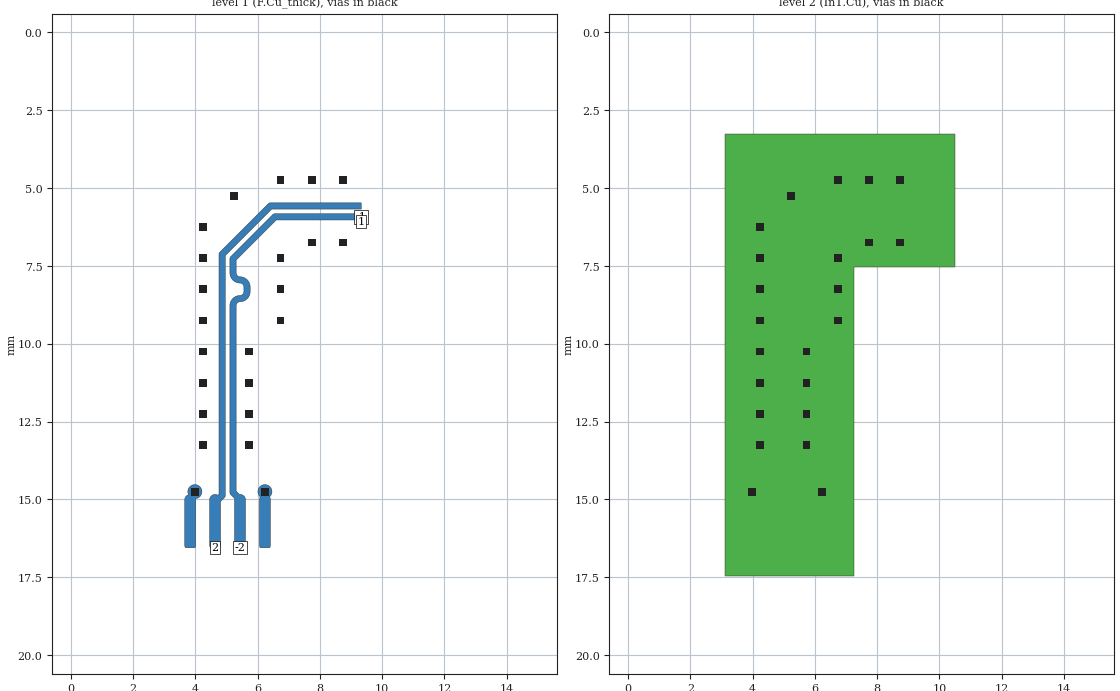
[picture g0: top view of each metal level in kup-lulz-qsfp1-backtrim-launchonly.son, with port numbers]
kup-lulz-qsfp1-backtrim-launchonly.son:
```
FTYP SONPROJ 19 ! Sonnet Project File
VER 18.56
HEADER
LIC antikernel2.1.61468
DAT 03/15/2024 08:04:39
BUILT_BY_CREATED dxf 18.56 03/15/2024 05:41:27
BUILT_BY_SAVED sonnet 18.56
MDATE 03/15/2024 06:28:55
HDATE 03/15/2024 06:28:55
ANN Created by dxfgeo, Sonnet Software Inc.
END HEADER
DIM
ANG DEG
CAP PF
CON /OH
FREQ GHZ
IND NH
LNG MM
RES OH
END DIM
CONTROL
VARSWP
OPTIONS  -dj
SPEED 1
CACHE_ABS 2
Q_ACC N
END CONTROL
GEO
TMET "Lossless" 0 SUP 0 0 0 0
BMET "Lossless" 0 SUP 0 0 0 0
MET "Copper_1oz+plated_thick_up" 1 TMM 58000000 0.5 0.0432 2
MET "Copper_1oz+plated_thin" 4 NOR 58000000 0.5 0.0432 
MET "Copper_0.5oz_thin" 2 NOR 58000000 0.5 0.0175 
MET "Copper_1oz+plated_thick_down" 3 TMM 58000000 0.5 0.0432 2 CDVY TDWN
BOX 6 15 20 1200 1600 20 0
      10 1 1 0 0 0 0 "Air"
      0.05 3.5 1 0.02 0 0 0 "Soldermask"
      0.2021 3.61 1 0.0092 0 0 0 "Isola_FR408HR"
      1.1938 3.61 1 0.0092 0 0 0 "Isola_FR408HR"
      0.2021 3.61 1 0.0092 0 0 0 "Isola_FR408HR"
      0.05 3.5 1 0.02 0 0 0 "Soldermask"
      10 1 1 0 0 0 0 "Air"
TECHLAY METAL F.Cu_thick L1D0 -1 -65534 CAD F.Cu drawing 
1 0 0 N 2224 1 1 100 100 0 0 0 Y
END
END
TECHLAY VIA Via1 L5D0 -7 -65534 CAD Via1 drawing 
VIA POLYGON
1 0 -1 N 2321 1 1 100 100 0 0 0 Y
TOLEVEL 4 RING NOCOVERS
END
END
TECHLAY METAL F.Cu_thin <UNSPECIFIED> -2 -65534 CAD F.Cu_thin drawing 
1 0 1 N 2236 1 1 100 100 0 0 0 Y
END
END
TECHLAY METAL In1.Cu L2D0 -3 -65534 CAD In1.Cu drawing 
2 0 2 N 2239 1 1 100 100 0 0 0 Y
END
END
TECHLAY METAL In2.Cu L3D0 -4 -65534 CAD In2.Cu drawing 
3 0 2 N 2242 1 1 100 100 0 0 0 Y
END
END
TECHLAY METAL B.Cu_thick L4D0 -5 -65534 CAD B.Cu drawing 
4 0 3 N 2245 1 1 100 100 0 0 0 Y
END
END
TECHLAY METAL B.Cu_thin <UNSPECIFIED> -6 -65534 CAD B.Cu_thin drawing 
4 0 1 N 2247 1 1 100 100 0 0 0 Y
END
END
LORGN 0 20 U 
POR1 CUP Auto
GNDREF AUTO
TERMW FEED
POLY 2255 1
245
-2 100 0 0 0 5.433 16.55 
CUPGRP "Auto" LOCAL
ID 2317
END
POR1 CUP Auto
GNDREF AUTO
TERMW FEED
POLY 2255 1
114
-1 100 0 0 0 9.325 5.924 
CUPGRP "Auto" LOCAL
ID 2318
END
POR1 CUP Auto
GNDREF AUTO
TERMW FEED
POLY 2256 1
50
2 100 0 0 0 4.633 16.55 
CUPGRP "Auto" LOCAL
ID 2319
END
POR1 CUP Auto
GNDREF AUTO
TERMW FEED
POLY 2256 1
14
1 100 0 0 0 9.325 5.574 
CUPGRP "Auto" LOCAL
ID 2320
END
NUM 28
1 72 0 N 2067 1 1 100 100 0 0 0 Y
TLAYNAM F.Cu_thick INH
3.995 16.531
4.005 16.498
4.008 16.464
4.008 15.014
4.005 14.98
4.003 14.973
4.016 14.972
4.038 14.967
4.059 14.961
4.079 14.952
4.099 14.942
4.117 14.93
4.134 14.916
4.15 14.9
4.164 14.883
4.176 14.865
4.186 14.845
4.195 14.825
4.201 14.804
4.206 14.782
4.208 14.76
4.208 14.738
4.206 14.716
4.201 14.694
4.195 14.673
4.186 14.653
4.176 14.633
4.164 14.615
4.15 14.598
4.134 14.582
4.117 14.568
4.099 14.556
4.079 14.546
4.059 14.537
4.038 14.531
4.016 14.526
3.994 14.524
3.972 14.524
3.95 14.526
3.928 14.531
3.907 14.537
3.887 14.546
3.867 14.556
3.849 14.568
3.832 14.582
3.816 14.598
3.802 14.615
3.79 14.633
3.78 14.653
3.771 14.673
3.765 14.694
3.76 14.716
3.758 14.738
3.758 14.76
3.76 14.782
3.765 14.804
3.771 14.825
3.78 14.845
3.781 14.847
3.766 14.852
3.736 14.868
3.709 14.89
3.687 14.917
3.671 14.947
3.661 14.98
3.658 15.014
3.658 16.464
3.661 16.498
3.671 16.531
3.681133333 16.55
3.984866667 16.55
3.995 16.531
END
1 67 0 N 2069 1 1 100 100 0 0 0 Y
TLAYNAM F.Cu_thick INH
6.395 16.531
6.405 16.498
6.408 16.464
6.408 15.014
6.405 14.98
6.395 14.947
6.38 14.919
6.384 14.916
6.4 14.9
6.414 14.883
6.426 14.865
6.436 14.845
6.445 14.825
6.451 14.804
6.456 14.782
6.458 14.76
6.458 14.738
6.456 14.716
6.451 14.694
6.445 14.673
6.436 14.653
6.426 14.633
6.414 14.615
6.4 14.598
6.384 14.582
6.367 14.568
6.349 14.556
6.329 14.546
6.309 14.537
6.288 14.531
6.266 14.526
6.244 14.524
6.222 14.524
6.2 14.526
6.178 14.531
6.157 14.537
6.137 14.546
6.117 14.556
6.099 14.568
6.082 14.582
6.066 14.598
6.052 14.615
6.04 14.633
6.03 14.653
6.021 14.673
6.015 14.694
6.01 14.716
6.008 14.738
6.008 14.76
6.01 14.782
6.015 14.804
6.021 14.825
6.03 14.845
6.04 14.865
6.052 14.883
6.066 14.9
6.082 14.916
6.086 14.919
6.071 14.947
6.061 14.98
6.058 15.014
6.058 16.464
6.061 16.498
6.071 16.531
6.081133333 16.55
6.384866667 16.55
6.395 16.531
END
1 248 0 N 2255 1 1 100 100 0 0 0 Y
TLAYNAM F.Cu_thick INH
5.595 16.531
5.605 16.498
5.608 16.464
5.608 15.014
5.605 14.98
5.595 14.947
5.579 14.917
5.557 14.89
5.53 14.868
5.5 14.852
5.467 14.842
5.433 14.839
5.416 14.841
5.308 14.733
5.308 8.778
5.311 8.749
5.317 8.728
5.331 8.703
5.345 8.686
5.364 8.67
5.386 8.658
5.408 8.652
5.437 8.649
5.438 8.649
5.448 8.648
5.481 8.645
5.486 8.645
5.491 8.644
5.492 8.644
5.501 8.642
5.511 8.639
5.514 8.638
5.553 8.626
5.562 8.623
5.57 8.618
5.572 8.617
5.601 8.601
5.609 8.597
5.618 8.591
5.625 8.585
5.648 8.566
5.652 8.564
5.666 8.55
5.672 8.543
5.673 8.542
5.695 8.515
5.701 8.509
5.706 8.5
5.711 8.492
5.712 8.489
5.722 8.47
5.727 8.462
5.732 8.453
5.735 8.444
5.738 8.434
5.748 8.403
5.748 8.402
5.751 8.392
5.753 8.383
5.754 8.373
5.754 8.372
5.757 8.339
5.758 8.329
5.758 8.169
5.757 8.159
5.754 8.126
5.754 8.121
5.753 8.116
5.753 8.115
5.751 8.106
5.748 8.096
5.747 8.093
5.735 8.054
5.732 8.045
5.727 8.037
5.726 8.035
5.71 8.006
5.706 7.998
5.7 7.989
5.694 7.982
5.675 7.959
5.673 7.955
5.659 7.941
5.652 7.935
5.651 7.934
5.624 7.912
5.618 7.906
5.609 7.901
5.601 7.896
5.598 7.895
5.579 7.885
5.571 7.88
5.562 7.875
5.553 7.872
5.543 7.869
5.512 7.859
5.511 7.859
5.501 7.856
5.492 7.854
5.482 7.853
5.481 7.853
5.448 7.85
5.438 7.849
5.437 7.849
5.408 7.846
5.387 7.84
5.362 7.826
5.345 7.812
5.329 7.793
5.317 7.771
5.311 7.749
5.308 7.72
5.308 7.312
6.597 6.024
9.325 6.024
9.325 5.824
6.541 5.824
6.531 5.826
6.522 5.829
6.521 5.83
6.516 5.832
6.513 5.833
6.512 5.833
6.496 5.843
6.488 5.849
5.134 7.204
5.128 7.211
5.122 7.22
5.117 7.228
5.114 7.237
5.111 7.247
5.109 7.256
5.108 7.266
5.108 7.729
5.109 7.739
5.112 7.772
5.112 7.773
5.113 7.783
5.115 7.792
5.118 7.802
5.118 7.803
5.128 7.834
5.131 7.844
5.134 7.853
5.139 7.862
5.144 7.87
5.154 7.889
5.155 7.892
5.16 7.9
5.165 7.909
5.171 7.915
5.193 7.942
5.194 7.943
5.2 7.95
5.214 7.964
5.218 7.966
5.241 7.985
5.248 7.991
5.257 7.997
5.265 8.001
5.294 8.017
5.296 8.018
5.304 8.023
5.313 8.026
5.352 8.038
5.355 8.039
5.365 8.042
5.374 8.044
5.375 8.044
5.38 8.045
5.385 8.045
5.418 8.048
5.428 8.049
5.429 8.049
5.458 8.052
5.48 8.058
5.502 8.07
5.521 8.086
5.535 8.103
5.549 8.128
5.555 8.149
5.558 8.178
5.558 8.32
5.555 8.349
5.549 8.371
5.537 8.393
5.521 8.412
5.504 8.426
5.479 8.44
5.458 8.446
5.429 8.449
5.428 8.449
5.418 8.45
5.385 8.453
5.384 8.453
5.374 8.454
5.365 8.456
5.355 8.459
5.354 8.459
5.323 8.469
5.313 8.472
5.304 8.475
5.295 8.48
5.287 8.485
5.268 8.495
5.265 8.496
5.257 8.501
5.248 8.506
5.242 8.512
5.215 8.534
5.214 8.535
5.207 8.541
5.193 8.555
5.191 8.559
5.172 8.582
5.166 8.589
5.16 8.598
5.156 8.606
5.14 8.635
5.139 8.637
5.134 8.645
5.131 8.654
5.119 8.693
5.118 8.696
5.115 8.706
5.113 8.715
5.113 8.716
5.112 8.721
5.112 8.726
5.109 8.759
5.108 8.769
5.108 14.779
5.109 14.789
5.111 14.798
5.114 14.808
5.117 14.817
5.122 14.825
5.128 14.834
5.134 14.841
5.264 14.971
5.261 14.98
5.258 15.014
5.258 16.464
5.261 16.498
5.271 16.531
5.281133333 16.55
5.584866667 16.55
5.595 16.531
END
1 53 0 N 2256 1 1 100 100 0 0 0 Y
TLAYNAM F.Cu_thick INH
4.795 16.531
4.805 16.498
4.808 16.464
4.808 15.065
4.932 14.941
4.938 14.934
4.944 14.925
4.949 14.917
4.952 14.908
4.955 14.898
4.957 14.889
4.958 14.879
4.958 7.168
6.453 5.674
9.325 5.674
9.325 5.474
6.406 5.474
6.396 5.475
6.386 5.477
6.368 5.483
6.36 5.488
6.351 5.494
6.343 5.5
6.337 5.507
4.798 7.046
4.791 7.052
4.784 7.059
4.784 7.06
4.778 7.067
4.772 7.075
4.767 7.084
4.761 7.102
4.759 7.112
4.758 7.122
4.758 14.833
4.725 14.866
4.7 14.852
4.667 14.842
4.633 14.839
4.599 14.842
4.566 14.852
4.536 14.868
4.509 14.89
4.487 14.917
4.471 14.947
4.461 14.98
4.458 15.014
4.458 16.464
4.461 16.498
4.471 16.531
4.481133333 16.55
4.784866667 16.55
4.795 16.531
END
VIA POLYGON
1 5 -1 N 1274 1 1 100 100 0 0 0 Y
TOLEVEL 4 RING NOCOVERS
TLAYNAM Via1 INH
6.608 4.874
6.608 4.624
6.858 4.624
6.858 4.874
6.608 4.874
END
VIA POLYGON
1 5 -1 N 1275 1 1 100 100 0 0 0 Y
TOLEVEL 4 RING NOCOVERS
TLAYNAM Via1 INH
7.608 4.874
7.608 4.624
7.858 4.624
7.858 4.874
7.608 4.874
END
VIA POLYGON
1 5 -1 N 1276 1 1 100 100 0 0 0 Y
TOLEVEL 4 RING NOCOVERS
TLAYNAM Via1 INH
8.608 4.874
8.608 4.624
8.858 4.624
8.858 4.874
8.608 4.874
END
VIA POLYGON
1 5 -1 N 1655 1 1 100 100 0 0 0 Y
TOLEVEL 4 RING NOCOVERS
TLAYNAM Via1 INH
3.858 14.874
3.858 14.624
4.108 14.624
4.108 14.874
3.858 14.874
END
VIA POLYGON
1 5 -1 N 1656 1 1 100 100 0 0 0 Y
TOLEVEL 4 RING NOCOVERS
TLAYNAM Via1 INH
6.108 14.874
6.108 14.624
6.358 14.624
6.358 14.874
6.108 14.874
END
VIA POLYGON
1 5 -1 N 1668 1 1 100 100 0 0 0 Y
TOLEVEL 4 RING NOCOVERS
TLAYNAM Via1 INH
4.108 13.374
4.108 13.124
4.358 13.124
4.358 13.374
4.108 13.374
END
VIA POLYGON
1 5 -1 N 1669 1 1 100 100 0 0 0 Y
TOLEVEL 4 RING NOCOVERS
TLAYNAM Via1 INH
5.608 13.374
5.608 13.124
5.858 13.124
5.858 13.374
5.608 13.374
END
VIA POLYGON
1 5 -1 N 1674 1 1 100 100 0 0 0 Y
TOLEVEL 4 RING NOCOVERS
TLAYNAM Via1 INH
4.108 12.374
4.108 12.124
4.358 12.124
4.358 12.374
4.108 12.374
END
VIA POLYGON
1 5 -1 N 1675 1 1 100 100 0 0 0 Y
TOLEVEL 4 RING NOCOVERS
TLAYNAM Via1 INH
5.608 12.374
5.608 12.124
5.858 12.124
5.858 12.374
5.608 12.374
END
VIA POLYGON
1 5 -1 N 1681 1 1 100 100 0 0 0 Y
TOLEVEL 4 RING NOCOVERS
TLAYNAM Via1 INH
4.108 11.374
4.108 11.124
4.358 11.124
4.358 11.374
4.108 11.374
END
VIA POLYGON
1 5 -1 N 1682 1 1 100 100 0 0 0 Y
TOLEVEL 4 RING NOCOVERS
TLAYNAM Via1 INH
5.608 11.374
5.608 11.124
5.858 11.124
5.858 11.374
5.608 11.374
END
VIA POLYGON
1 5 -1 N 1687 1 1 100 100 0 0 0 Y
TOLEVEL 4 RING NOCOVERS
TLAYNAM Via1 INH
4.108 10.374
4.108 10.124
4.358 10.124
4.358 10.374
4.108 10.374
END
VIA POLYGON
1 5 -1 N 1688 1 1 100 100 0 0 0 Y
TOLEVEL 4 RING NOCOVERS
TLAYNAM Via1 INH
5.608 10.374
5.608 10.124
5.858 10.124
5.858 10.374
5.608 10.374
END
VIA POLYGON
1 5 -1 N 1693 1 1 100 100 0 0 0 Y
TOLEVEL 4 RING NOCOVERS
TLAYNAM Via1 INH
4.108 9.374
4.108 9.124
4.358 9.124
4.358 9.374
4.108 9.374
END
VIA POLYGON
1 5 -1 N 1694 1 1 100 100 0 0 0 Y
TOLEVEL 4 RING NOCOVERS
TLAYNAM Via1 INH
6.608 9.374
6.608 9.124
6.858 9.124
6.858 9.374
6.608 9.374
END
VIA POLYGON
1 5 -1 N 1700 1 1 100 100 0 0 0 Y
TOLEVEL 4 RING NOCOVERS
TLAYNAM Via1 INH
4.108 8.374
4.108 8.124
4.358 8.124
4.358 8.374
4.108 8.374
END
VIA POLYGON
1 5 -1 N 1701 1 1 100 100 0 0 0 Y
TOLEVEL 4 RING NOCOVERS
TLAYNAM Via1 INH
6.608 8.374
6.608 8.124
6.858 8.124
6.858 8.374
6.608 8.374
END
VIA POLYGON
1 5 -1 N 1704 1 1 100 100 0 0 0 Y
TOLEVEL 4 RING NOCOVERS
TLAYNAM Via1 INH
4.108 7.374
4.108 7.124
4.358 7.124
4.358 7.374
4.108 7.374
END
VIA POLYGON
1 5 -1 N 1705 1 1 100 100 0 0 0 Y
TOLEVEL 4 RING NOCOVERS
TLAYNAM Via1 INH
6.608 7.374
6.608 7.124
6.858 7.124
6.858 7.374
6.608 7.374
END
VIA POLYGON
1 5 -1 N 1706 1 1 100 100 0 0 0 Y
TOLEVEL 4 RING NOCOVERS
TLAYNAM Via1 INH
7.608 6.874
7.608 6.624
7.858 6.624
7.858 6.874
7.608 6.874
END
VIA POLYGON
1 5 -1 N 1707 1 1 100 100 0 0 0 Y
TOLEVEL 4 RING NOCOVERS
TLAYNAM Via1 INH
8.608 6.874
8.608 6.624
8.858 6.624
8.858 6.874
8.608 6.874
END
VIA POLYGON
1 5 -1 N 1712 1 1 100 100 0 0 0 Y
TOLEVEL 4 RING NOCOVERS
TLAYNAM Via1 INH
4.108 6.374
4.108 6.124
4.358 6.124
4.358 6.374
4.108 6.374
END
VIA POLYGON
1 5 -1 N 1715 1 1 100 100 0 0 0 Y
TOLEVEL 4 RING NOCOVERS
TLAYNAM Via1 INH
5.108 5.374
5.108 5.124
5.358 5.124
5.358 5.374
5.108 5.374
END
2 7 2 N 2257 1 1 100 100 0 0 0 Y
TLAYNAM In1.Cu INH
7.25 7.55
10.5 7.55
10.5 3.25
3.125 3.25
3.125 17.45
7.25 17.45
7.25 7.55
END
END GEO
OPT
MAX 100
END OPT
VARSWP
ENABLED Y
FREQ Y AN SWEEP 5.0 40.0 5.0
FREQ Y AY ABS_ENTRY 0.1 40.0 -1 300 
END
END VARSWP
```
